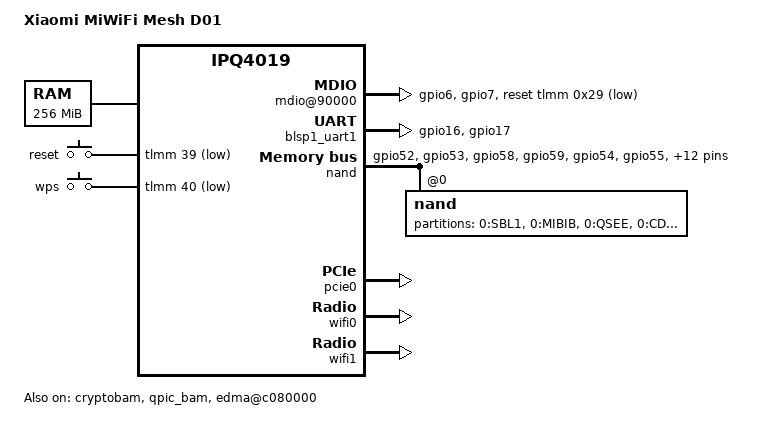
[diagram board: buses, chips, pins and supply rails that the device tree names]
/* Copyright (c) 2015, The Linux Foundation. All rights reserved.
 *
 * Permission to use, copy, modify, and/or distribute this software for any
 * purpose with or without fee is hereby granted, provided that the above
 * copyright notice and this permission notice appear in all copies.
 *
 * THE SOFTWARE IS PROVIDED "AS IS" AND THE AUTHOR DISCLAIMS ALL WARRANTIES
 * WITH REGARD TO THIS SOFTWARE INCLUDING ALL IMPLIED WARRANTIES OF
 * MERCHANTABILITY AND FITNESS. IN NO EVENT SHALL THE AUTHOR BE LIABLE FOR
 * ANY SPECIAL, DIRECT, INDIRECT, OR CONSEQUENTIAL DAMAGES OR ANY DAMAGES
 * WHATSOEVER RESULTING FROM LOSS OF USE, DATA OR PROFITS, WHETHER IN AN
 * ACTION OF CONTRACT, NEGLIGENCE OR OTHER TORTIOUS ACTION, ARISING OUT OF
 * OR IN CONNECTION WITH THE USE OR PERFORMANCE OF THIS SOFTWARE.
 *
 */

#include "qcom-ipq4019.dtsi"
#include <dt-bindings/gpio/gpio.h>
#include <dt-bindings/input/input.h>
#include <dt-bindings/soc/qcom,tcsr.h>

/ {
	model = "Xiaomi MiWiFi Mesh D01";
	compatible = "xiaomi,miwifi-mesh-d01", "qcom,ipq4019";

	chosen {
		bootargs-append = " root=/dev/ubiblock0_0 clk_ignore_unused";
	};

	aliases {
		serial0 = &blsp1_uart1;
	};

	memory {
		device_type = "memory";
		reg = <0x80000000 0x10000000>;
	};

	reserved-memory {
		#address-cells = <0x1>;
		#size-cells = <0x1>;
		ranges;

		rsvd1@87000000 {
			reg = <0x87000000 0x500000>;
			no-map;
		};

		wifi_dump@87500000 {
			reg = <0x87500000 0x600000>;
			no-map;
		};

	};

	keys {
		compatible = "gpio-keys";

		button@0 {
			label = "reset";
			linux,code = <KEY_RESTART>;
			gpios = <&tlmm 39 GPIO_ACTIVE_LOW>;
		};

		button@1 {
			label = "wps";
			linux,code = <KEY_WPS_BUTTON>;
			gpios = <&tlmm 40 GPIO_ACTIVE_LOW>;
		};
	};

	soc {
		rng@22000 {
			status = "okay";
		};

		ess-psgmii@98000 {
			status = "okay";
			resets = <&gcc 0x4d>;
			reset-names = "psgmii_rst";
		};

		tcsr@1949000 {
			compatible = "qcom,tcsr";
			reg = <0x1949000 0x100>;
			qcom,wifi_glb_cfg = <TCSR_WIFI_GLB_CFG>;
		};

		tcsr@194b000 {
			compatible = "qcom,tcsr";
			reg = <0x194b000 0x100>;
			qcom,usb-hsphy-mode-select = <TCSR_USB_HSPHY_HOST_MODE>;
		};

		ess_tcsr@1953000 {
			compatible = "qcom,tcsr";
			reg = <0x1953000 0x1000>;
			qcom,ess-interface-select = <TCSR_ESS_PSGMII>;
		};

		tcsr@1957000 {
			compatible = "qcom,tcsr";
			reg = <0x1957000 0x100>;
			qcom,wifi_noc_memtype_m0_m2 = <TCSR_WIFI_NOC_MEMTYPE_M0_M2>;
		};

		crypto@8e3a000 {
			status = "okay";
		};

		watchdog@b017000 {
			status = "okay";
		};

		ess-switch@c000000 {
			status = "okay";
			resets = <&gcc 0x1d
			&gcc 0x4e
			&gcc 0x4f
			&gcc 0x50
			&gcc 0x51
			&gcc 0x52>;
			reset-names = "ess_rst", "ess_mac1_clk_dis", "ess_mac2_clk_dis", "ess_mac3_clk_dis", "ess_mac4_clk_dis", "ess_mac5_clk_dis";
		};

		edma@c080000 {
			compatible = "qcom,ess-edma";
			status = "okay";
		};

		pinctrl@1000000 {
			mdio_pins: mdio_pinmux {
				mux_1 {
					pins = "gpio6";
					function = "mdio";
					bias-pull-up;
				};

				mux_2 {
					pins = "gpio7";
					function = "mdc";
					bias-pull-up;
				};
			};

			serial_0_pins: serial_pinmux {
				mux {
					pins = "gpio16", "gpio17";
					function = "blsp_uart0";
					bias-disable;
				};
			};

			serial_1_pins: serial1_pinmux {
				mux {
					pins = "gpio8", "gpio9", "gpio10", "gpio11";
					function = "blsp_uart1";
					bias-disable;
				};
			};

			i2c_0_pins: i2c_0_pinmux {
				mux {
					pins = "gpio20", "gpio21";
					function = "blsp_i2c0";
					bias-disable;
				};
			};

			nand_pins: nand_pins {
				pullups {
					pins = "gpio52", "gpio53", "gpio58", "gpio59";
					function = "qpic";
					bias-pull-up;
				};

				pulldowns {
					pins = "gpio54", "gpio55", "gpio56",
					"gpio57", "gpio60", "gpio61",
					"gpio62", "gpio63", "gpio64",
					"gpio65", "gpio66", "gpio67",
					"gpio68", "gpio69";
					function = "qpic";
					bias-pull-down;
				};
			};
		};

		mdio@90000 {
			status = "okay";
			pinctrl-0 = <&mdio_pins>;
			pinctrl-names = "default";
			reset-gpios = <&tlmm 0x29 GPIO_ACTIVE_LOW>;
		};
	};
};

&blsp_dma {
	status = "okay";
};

&blsp1_uart1 {
	status = "okay";
	pinctrl-0 = <&serial_0_pins>;
	pinctrl-names = "default";
};

&cryptobam {
	status = "okay";
};

&nand {
	compatible = "qcom,ipq4019-nand";
	status = "okay";
	pinctrl-0 = <&nand_pins>;
	pinctrl-names = "default";

	nand@0 {
		partitions {
			compatible = "fixed-partitions";
			#address-cells = <1>;
			#size-cells = <1>;

			partition@0 {
				label = "0:SBL1";
				reg = <0x0 0x100000>;
				read-only;
			};

			partition@100000 {
				label = "0:MIBIB";
				reg = <0x100000 0x100000>;
				read-only;
			};

			partition@200000 {
				label = "0:QSEE";
				reg = <0x200000 0x100000>;
				read-only;
			};

			partition@300000 {
				label = "0:CDT";
				reg = <0x300000 0x80000>;
				read-only;
			};

			partition@380000 {
				label = "0:APPSBLENV";
				reg = <0x380000 0x80000>;
			};

			partition@400000 {
				label = "0:APPSBL";
				reg = <0x400000 0x200000>;
				read-only;
			};

			partition@600000 {
				label = "0:ART";
				reg = <0x600000 0x80000>;
				read-only;
			};

			partition@680000 {
				label = "rsvd0";
				reg = <0x680000 0x80000>;
				read-only;
			};

			partition@700000 {
				label = "bdata";
				reg = <0x700000 0x40000>;
				read-only;
			};

			partition@740000 {
				label = "crash";
				reg = <0x740000 0x40000>;
				read-only;
			};

			partition@780000 {
				label = "crash_syslog";
				reg = <0x780000 0x80000>;
				read-only;
			};

			partition@800000 {
				label = "kernel";
				reg = <0x800000 0x400000>;
			};

			partition@c00000 {
				label = "kernel1";
				reg = <0xc00000 0x400000>;
				read-only;
			};

			partition@1000000 {
				label = "ubi";
				reg = <0x1000000 0x2000000>;
			};

			partition@3000000 {
				label = "rootfs1";
				reg = <0x3000000 0x2000000>;
				read-only;
			};

			partition@5000000 {
				label = "overlay";
				reg = <0x5000000 0x2f00000>;
				read-only;
			};

			partition@7F00000 {
				label = "cfg_bak";
				reg = <0x7f00000 0x100000>;
				read-only;
			};
		};

	};
};

&pcie0 {
	status = "okay";
};

&qpic_bam {
	status = "okay";
};

&wifi0 {
	status = "okay";
};

&wifi1 {
	status = "okay";
};
